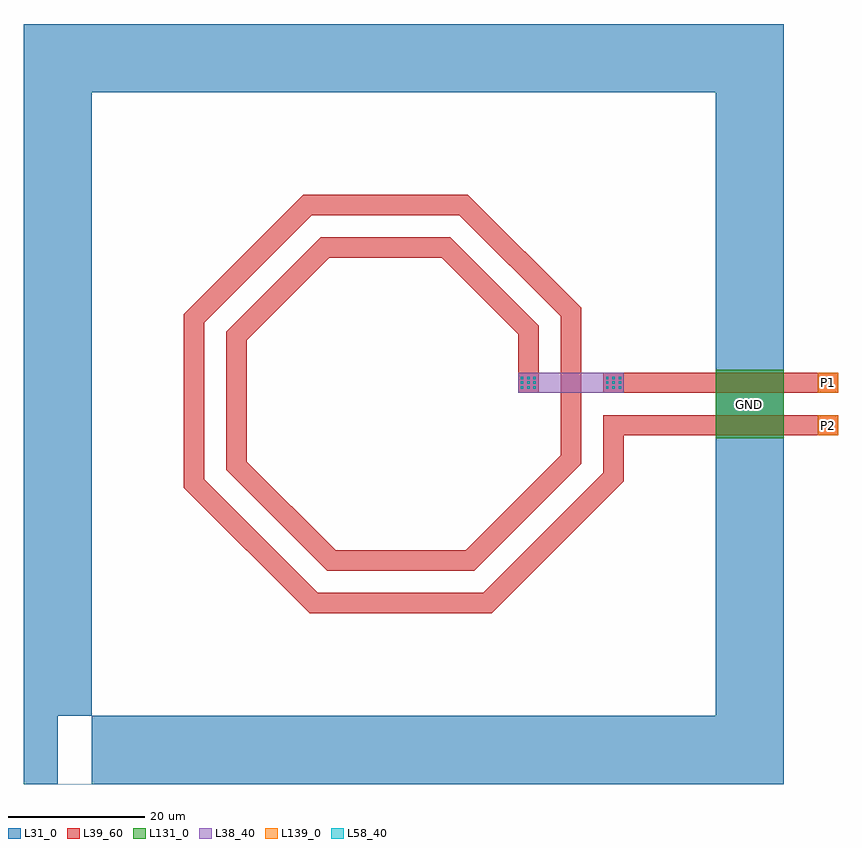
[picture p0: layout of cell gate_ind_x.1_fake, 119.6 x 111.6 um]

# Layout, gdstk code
import gdstk
lib = gdstk.Library(unit=1e-6, precision=1e-09)
def R(c, l, rs):  # rectangles x0, y0, x1, y1
    for r in rs: c.add(gdstk.rectangle(r[:2], r[2:], *l))
def A(c, l, x, y, w, h, nx, ny, dx, dy):  # array of equal rectangles
    R(c, l, [(x+i*dx, y+j*dy, x+i*dx+w, y+j*dy+h) for i in range(nx) for j in range(ny)])
def P(c, l, *ps):  # polygons
    for p in ps: c.add(gdstk.Polygon(p, *l))
L31_0 = (31, 0)
L38_40 = (38, 40)
L39_60 = (39, 60)
L58_40 = (58, 40)
L131_0 = (131, 0)
L139_0 = (139, 0)

gate_ind_x_1_fake = lib.new_cell('gate_ind_x.1_fake')
P(gate_ind_x_1_fake, L31_0, [(-50.8,-45.8),(-50.8,-55.8),(55.8,-55.8),(55.8,55.8),(-55.8,55.8),(-55.8,-55.8),(-45.8,-55.8),(-45.8,45.8),(45.8,45.8),(45.8,-45.8)])
R(gate_ind_x_1_fake, L38_40, [(16.8,1.625,32.3,4.625)])
R(gate_ind_x_1_fake, L39_60, [(29.3,1.625,63.8,4.625)])
P(gate_ind_x_1_fake, L39_60, [(16.8,1.625),(19.8,1.625),(19.8,11.516),(6.832,24.49),(-12.161,24.49),(-26.05,10.601),(-26.05,-9.686),(-11.246,-24.49),(10.331,-24.49),(26.05,-8.771),(26.05,14.106),(9.416,30.74),(-14.751,30.74),(-32.3,13.191),(-32.3,-12.276),(-13.836,-30.74),(12.921,-30.74),(32.3,-11.361),(32.3,-4.625),(63.8,-4.625),(63.8,-1.625),(29.3,-1.625),(29.3,-10.119),(11.679,-27.74),(-12.594,-27.74),(-29.3,-11.034),(-29.3,11.949),(-13.509,27.74),(8.174,27.74),(23.05,12.864),(23.05,-7.529),(9.089,-21.49),(-10.004,-21.49),(-23.05,-8.444),(-23.05,9.359),(-10.919,21.49),(5.588,21.49),(16.8,10.274)])
A(gate_ind_x_1_fake, L58_40, 17.201, 2.245, 0.36, 0.36, 3, 3, 0.92, 0.7)
A(gate_ind_x_1_fake, L58_40, 29.701, 2.245, 0.36, 0.36, 3, 3, 0.92, 0.7)
R(gate_ind_x_1_fake, L131_0, [(45.8,-5,55.8,5)])
R(gate_ind_x_1_fake, L139_0, [(60.8,-4.625,63.8,-1.625), (60.8,1.625,63.8,4.625)])
gate_ind_x_1_fake.add(gdstk.Label('P1', (62.301,3.125), layer=139, texttype=0))
gate_ind_x_1_fake.add(gdstk.Label('P2', (62.301,-3.125), layer=139, texttype=0))
gate_ind_x_1_fake.add(gdstk.Label('GND', (50.801,0), layer=131, texttype=0))

lib.write_gds('gate_ind_x.1_fake.gds')
